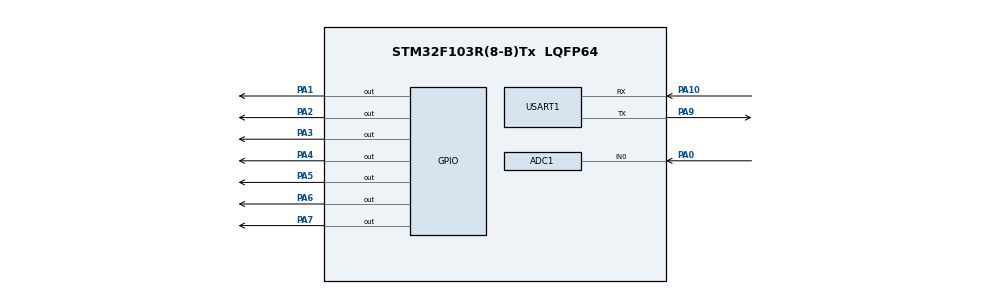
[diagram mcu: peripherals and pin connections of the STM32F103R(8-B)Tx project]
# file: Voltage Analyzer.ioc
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ADC1.Channel-0\#ChannelRegularConversion=ADC_CHANNEL_0
ADC1.NbrOfConversionFlag=1
ADC1.Rank-0\#ChannelRegularConversion=1
ADC1.SamplingTime-0\#ChannelRegularConversion=ADC_SAMPLETIME_1CYCLE_5
ADC1.master=1
Mcu.Family=STM32F1
Mcu.Name=STM32F103R(8-B)Tx
Mcu.Package=LQFP64
NVIC.PriorityGroup=NVIC_PRIORITYGROUP_4
PA0-WKUP.Signal=ADCx_IN0
PA1.Signal=GPIO_Output
PA10.Mode=Asynchronous
PA10.Signal=USART1_RX
PA2.Signal=GPIO_Output
PA3.Signal=GPIO_Output
PA4.Signal=GPIO_Output
PA5.Signal=GPIO_Output
PA6.Signal=GPIO_Output
PA7.Signal=GPIO_Output
PA9.Mode=Asynchronous
PA9.Signal=USART1_TX
PD0-OSC_IN.Mode=HSE-External-Oscillator
PD0-OSC_IN.Signal=RCC_OSC_IN
PD1-OSC_OUT.Mode=HSE-External-Oscillator
PD1-OSC_OUT.Signal=RCC_OSC_OUT
ProjectManager.HeapSize=0x200
ProjectManager.StackSize=0x400
ProjectManager.TargetToolchain=STM32CubeIDE
RCC.APB1Freq_Value=8000000
RCC.APB2Freq_Value=8000000
SH.ADCx_IN0.0=ADC1_IN0,IN0
USART1.VirtualMode=VM_ASYNC
VP_SYS_VS_ND.Mode=No_Debug
board=custom

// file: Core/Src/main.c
/* USER CODE BEGIN Header */
/**
  ******************************************************************************
  * @file           : main.c
  * @brief          : Main program body
  ******************************************************************************
  * @attention
  *
  * Copyright (c) 2024 STMicroelectronics.
  * All rights reserved.
  *
  * This software is licensed under terms that can be found in the LICENSE file
  * in the root directory of this software component.
  * If no LICENSE file comes with this software, it is provided AS-IS.
  *
  ******************************************************************************
  */
/* USER CODE END Header */
#include "main.h"
#include "stdio.h"
#include "string.h"
#include "lcd.h"

ADC_HandleTypeDef hadc1;

UART_HandleTypeDef huart1;

void SystemClock_Config(void);
static void MX_GPIO_Init(void);
static void MX_ADC1_Init(void);
static void MX_USART1_UART_Init(void);

int main(void)
{
	uint16_t INPUT;
    char DATA[10];

  /* MCU Configuration--------------------------------------------------------*/

  /* Reset of all peripherals, Initializes the Flash interface and the Systick. */
  HAL_Init();

  /* Configure the system clock */
  SystemClock_Config();

  /* Initialize all configured peripherals */
  MX_GPIO_Init();
  MX_ADC1_Init();
  MX_USART1_UART_Init();
  /* USER CODE BEGIN 2 */
  lcd_init();
  /* USER CODE END 2 */

  /* Infinite loop */
  /* USER CODE BEGIN WHILE */
  while (1)
  {
	  HAL_ADC_Start(&hadc1);
	  HAL_ADC_PollForConversion(&hadc1,20);
	  INPUT = HAL_ADC_GetValue(&hadc1);
	  sprintf(DATA,"%hu\r\n",INPUT);
	  	  HAL_UART_Transmit(&huart1, (uint8_t *)DATA, strlen(DATA), 20);
	  	  lcd_clear();
	  	  if(INPUT==0)
	  	  {
	  		lcd_put_cur(0,0);
	        lcd_send_string("  VOLTAGE IS ");
	        lcd_put_cur(1,0);
	        lcd_send_string(" EQUAL BY ZERO ");

	  	  }
	  	  else if(INPUT==4095)
	  	  {
	  		  lcd_put_cur(0,0);
	  		  lcd_send_string("VOLTAGE IS NORMAL ");
	  	  }
	  	  else{
	  		  lcd_put_cur(0,0);
	  		  lcd_send_string("VOLTAGE IS UNSTABLE");
	  	  }
    /* USER CODE END WHILE */

  }
}

void SystemClock_Config(void)
{
  RCC_OscInitTypeDef RCC_OscInitStruct = {0};
  RCC_ClkInitTypeDef RCC_ClkInitStruct = {0};
  RCC_PeriphCLKInitTypeDef PeriphClkInit = {0};

  /** Initializes the RCC Oscillators according to the specified parameters
  * in the RCC_OscInitTypeDef structure.
  */
  RCC_OscInitStruct.OscillatorType = RCC_OSCILLATORTYPE_HSI;
  RCC_OscInitStruct.HSIState = RCC_HSI_ON;
  RCC_OscInitStruct.HSICalibrationValue = RCC_HSICALIBRATION_DEFAULT;
  RCC_OscInitStruct.PLL.PLLState = RCC_PLL_NONE;
  if (HAL_RCC_OscConfig(&RCC_OscInitStruct) != HAL_OK)
  {
    Error_Handler();
  }

  /** Initializes the CPU, AHB and APB buses clocks
  */
  RCC_ClkInitStruct.ClockType = RCC_CLOCKTYPE_HCLK|RCC_CLOCKTYPE_SYSCLK
                              |RCC_CLOCKTYPE_PCLK1|RCC_CLOCKTYPE_PCLK2;
  RCC_ClkInitStruct.SYSCLKSource = RCC_SYSCLKSOURCE_HSI;
  RCC_ClkInitStruct.AHBCLKDivider = RCC_SYSCLK_DIV1;
  RCC_ClkInitStruct.APB1CLKDivider = RCC_HCLK_DIV1;
  RCC_ClkInitStruct.APB2CLKDivider = RCC_HCLK_DIV1;

  if (HAL_RCC_ClockConfig(&RCC_ClkInitStruct, FLASH_LATENCY_0) != HAL_OK)
  {
    Error_Handler();
  }
  PeriphClkInit.PeriphClockSelection = RCC_PERIPHCLK_ADC;
  PeriphClkInit.AdcClockSelection = RCC_ADCPCLK2_DIV2;
  if (HAL_RCCEx_PeriphCLKConfig(&PeriphClkInit) != HAL_OK)
  {
    Error_Handler();
  }
}

static void MX_ADC1_Init(void)
{

  ADC_ChannelConfTypeDef sConfig = {0};

  /** Common config
  */
  hadc1.Instance = ADC1;
  hadc1.Init.ScanConvMode = ADC_SCAN_DISABLE;
  hadc1.Init.ContinuousConvMode = DISABLE;
  hadc1.Init.DiscontinuousConvMode = DISABLE;
  hadc1.Init.ExternalTrigConv = ADC_SOFTWARE_START;
  hadc1.Init.DataAlign = ADC_DATAALIGN_RIGHT;
  hadc1.Init.NbrOfConversion = 1;
  if (HAL_ADC_Init(&hadc1) != HAL_OK)
  {
    Error_Handler();
  }

  /** Configure Regular Channel
  */
  sConfig.Channel = ADC_CHANNEL_0;
  sConfig.Rank = ADC_REGULAR_RANK_1;
  sConfig.SamplingTime = ADC_SAMPLETIME_1CYCLE_5;
  if (HAL_ADC_ConfigChannel(&hadc1, &sConfig) != HAL_OK)
  {
    Error_Handler();
  }

}

static void MX_USART1_UART_Init(void)
{

  huart1.Instance = USART1;
  huart1.Init.BaudRate = 9600;
  huart1.Init.WordLength = UART_WORDLENGTH_8B;
  huart1.Init.StopBits = UART_STOPBITS_1;
  huart1.Init.Parity = UART_PARITY_NONE;
  huart1.Init.Mode = UART_MODE_TX_RX;
  huart1.Init.HwFlowCtl = UART_HWCONTROL_NONE;
  huart1.Init.OverSampling = UART_OVERSAMPLING_16;
  if (HAL_UART_Init(&huart1) != HAL_OK)
  {
    Error_Handler();
  }

}

static void MX_GPIO_Init(void)
{
  GPIO_InitTypeDef GPIO_InitStruct = {0};

  /* GPIO Ports Clock Enable */
  __HAL_RCC_GPIOD_CLK_ENABLE();
  __HAL_RCC_GPIOA_CLK_ENABLE();

  /*Configure GPIO pin Output Level */
  HAL_GPIO_WritePin(GPIOA, GPIO_PIN_1|GPIO_PIN_2|GPIO_PIN_3|GPIO_PIN_4
                          |GPIO_PIN_5|GPIO_PIN_6|GPIO_PIN_7, GPIO_PIN_RESET);

  /*Configure GPIO pins : PA1 PA2 PA3 PA4
                           PA5 PA6 PA7 */
  GPIO_InitStruct.Pin = GPIO_PIN_1|GPIO_PIN_2|GPIO_PIN_3|GPIO_PIN_4
                          |GPIO_PIN_5|GPIO_PIN_6|GPIO_PIN_7;
  GPIO_InitStruct.Mode = GPIO_MODE_OUTPUT_PP;
  GPIO_InitStruct.Pull = GPIO_NOPULL;
  GPIO_InitStruct.Speed = GPIO_SPEED_FREQ_LOW;
  HAL_GPIO_Init(GPIOA, &GPIO_InitStruct);

}

void Error_Handler(void)
{
  __disable_irq();
  while (1)
  {
  }
}
